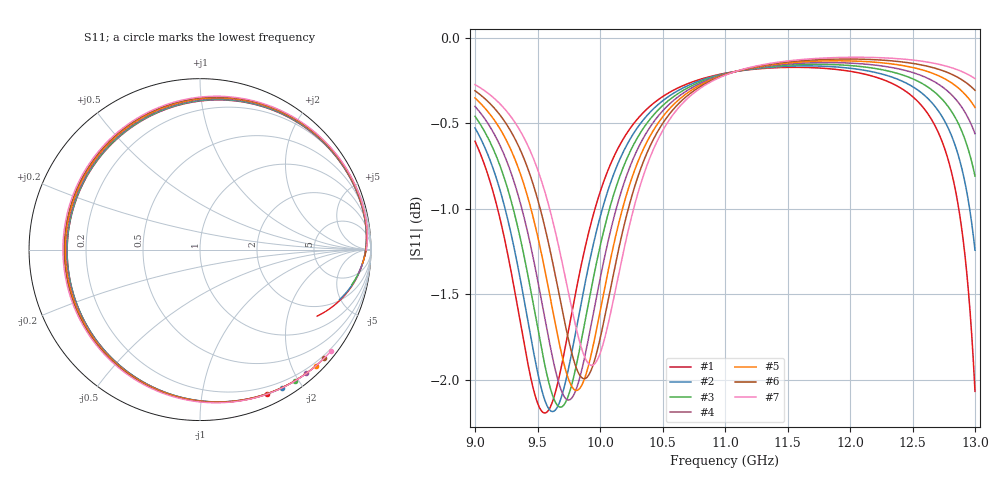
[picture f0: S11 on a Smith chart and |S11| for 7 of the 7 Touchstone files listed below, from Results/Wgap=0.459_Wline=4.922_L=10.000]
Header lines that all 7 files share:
! TOUCHSTONE file generated by CST DESIGN STUDIO
! Project name: C:\Work\MatlabApps\UnitCellOptimizationMatlab\CST\unitcell.cst
! Tree item: Tasks\Sweep1\SPara1\S-Parameters
! Header version: 2024
! Port assignment regex: !\s*Touchstone port\s*([0-9]+)\s*=\s*(CST MWS port|CST DES external port|CST DES block port)\s*(.+)\s* \(\"(.*)\"\)(\s*mode\s*([0-9]+))?.*
! Touchstone port assignment:
! Touchstone port 1 = CST DES external port 1 ("")
# GHz S MA R 50
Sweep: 9 GHz to 13 GHz
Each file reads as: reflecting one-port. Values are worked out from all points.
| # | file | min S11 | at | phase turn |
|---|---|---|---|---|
| 1 | DS_for_MWS-run-0005.s1p | -2.2 dB | 9.558 GHz | -324 deg |
| 2 | DS_for_MWS-run-0006.s1p | -2.2 dB | 9.62 GHz | -320 deg |
| 3 | DS_for_MWS-run-0007.s1p | -2.2 dB | 9.684 GHz | -319 deg |
| 4 | DS_for_MWS-run-0008.s1p | -2.1 dB | 9.748 GHz | -319 deg |
| 5 | DS_for_MWS-run-0009.s1p | -2.1 dB | 9.811 GHz | -320 deg |
| 6 | DS_for_MWS-run-0010.s1p | -2.0 dB | 9.873 GHz | -321 deg |
| 7 | DS_for_MWS-run-0011.s1p | -1.9 dB | 9.934 GHz | -322 deg |
